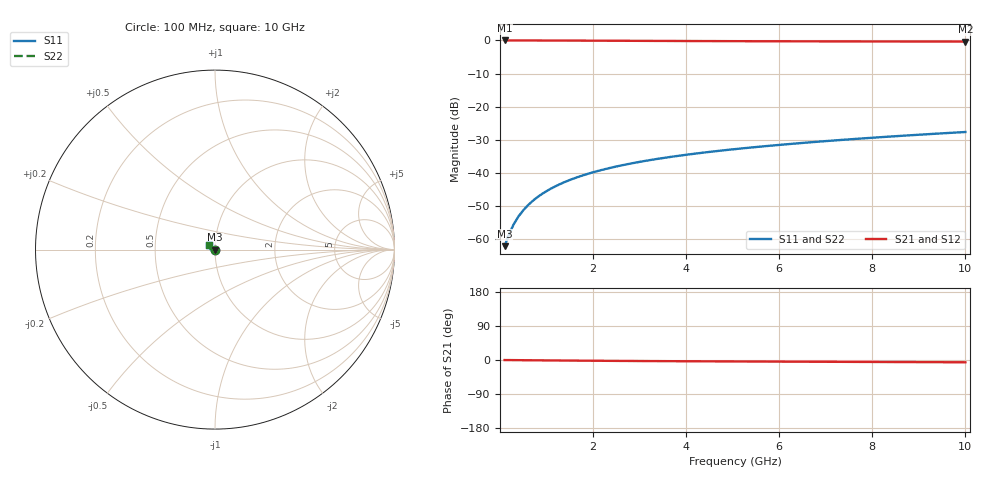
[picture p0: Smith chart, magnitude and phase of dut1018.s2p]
! Touchstone file exported from HFSS 2024.1.0
!  File:  C:/UserFiles/LocalFiles/RDL_TSV_Batchsim/temp_TSV1_1018_1780059507.aedt
!  Generated:  09:06:17 PM May 29, 2026
!  Design:  TSV1
!  Project:  temp_TSV1_1018_1780059507
!  Setup:  Setup1
!  Solution:  Sweep
! Variables:
!  dtsv = 5.08um
!  hbump = 3um
!  htsv = 90.08um
!  lrdl = 252.1521522um
!  p = 40
!  p1 = 47.06um
!  t = 500um
!  trdl = 3um
!  wrdl = 24.89489489um
# GHz S MA R 50.000000
! Terminal data exported
! Port[1] = TSV22_T1
! Port[2] = TSV22_T2
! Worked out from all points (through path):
!   100 points, 100 MHz to 10 GHz, reference 50 ohm
!   highest |S21| = -0.01 dB at 100 MHz (marker M1); lowest = -0.3 dB at 10 GHz (marker M2)
!   lowest |S11| = -62.2 dB at 100 MHz (marker M3), VSWR 1.00, Z = 50.1 - j0.0544 ohm
!   |S11| at or under -10 dB: start of sweep to end of sweep
!   |S22| runs from -62.2 to -27.7 dB; largest |S21 - S12| = 6.1e-15
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0.1  0.0007797 -44.2  0.9994 -0.1  0.9994 -0.1  0.0007797 -44.2
! Gamma 0 0 0 0
! Port Impedance 50 0 50 0
0.2  0.001208 -65.5  0.9993 -0.2  0.9993 -0.2  0.001208 -65.5
0.3  0.001695 -76.5  0.9992 -0.3  0.9992 -0.3  0.001695 -76.5
0.4  0.002201 -83.7  0.999 -0.4  0.999 -0.4  0.002201 -83.7
0.5  0.002715 -89.0  0.9988 -0.5  0.9988 -0.5  0.002715 -89.0
0.6  0.003231 -93.3  0.9986 -0.6  0.9986 -0.6  0.003231 -93.3
0.7  0.003748 -97.0  0.9983 -0.7  0.9983 -0.7  0.003748 -97.0
0.8  0.004263 -100.4  0.998 -0.8  0.998 -0.8  0.004263 -100.4
0.9  0.004777 -103.5  0.9977 -0.9  0.9977 -0.9  0.004777 -103.5
1  0.005288 -106.5  0.9973 -1.0  0.9973 -1.0  0.005288 -106.5
1.2  0.0063 -111.9  0.9964 -1.2  0.9964 -1.2  0.0063 -111.9
1.5  0.007788 -119.4  0.9949 -1.5  0.9949 -1.5  0.007788 -119.4
1.8  0.009238 -126.3  0.9932 -1.8  0.9932 -1.8  0.009238 -126.3
2.1  0.01065 -132.8  0.9914 -2.0  0.9914 -2.0  0.01065 -132.8
2.5  0.01246 -140.9  0.9889 -2.3  0.9889 -2.3  0.01246 -140.9
2.9  0.01421 -148.3  0.9864 -2.6  0.9864 -2.6  0.01421 -148.3
3.4  0.01631 -156.8  0.9833 -2.9  0.9833 -2.9  0.01631 -156.8
4.2  0.01952 -168.8  0.9788 -3.4  0.9788 -3.4  0.01952 -168.8
5.1  0.023 179.8  0.9745 -3.9  0.9745 -3.9  0.023 179.8
6.7  0.02902 163.6  0.9685 -4.6  0.9685 -4.6  0.02902 163.6
8.4  0.03537 150.8  0.9641 -5.3  0.9641 -5.3  0.03537 150.8
10  0.04137 141.5  0.961 -6.0  0.961 -6.0  0.04137 141.5
